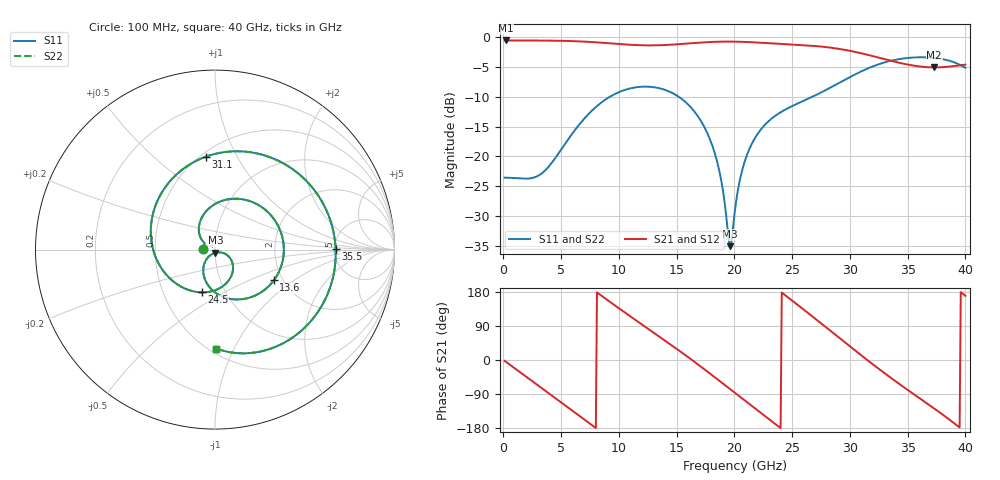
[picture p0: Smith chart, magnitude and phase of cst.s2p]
! C_s8_ap600: L1→L8, antipad Ø0.6 on every plane
! stackup: 8-layer 1.6 mm FR-4 (generic)
! ports: 1, 2
! CST Studio Suite 2025.5 Release from 2025-05-30, time domain (FIT, hexahedral, PBA), 154800 mesh cells, 35 s
! mesh: {'lpw': 20, 'lpb': 20, 'minstep': 0.0, 'ratio': 20}; ports: port 1 (face); port 2 (face)
! interpolated from CST's 1001 samples to the case grid
# Hz S RI R 50
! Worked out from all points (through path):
!   400 points, 100 MHz to 40 GHz, reference 50 ohm
!   highest |S21| = -0.60 dB at 200 MHz (marker M1); lowest = -5.1 dB at 37.3 GHz (marker M2)
!   group delay of S21, straight-line fit = 63.6 ps
!   lowest |S11| = -35.0 dB at 19.6 GHz (marker M3), VSWR 1.04, Z = 50.2 - j1.77 ohm
!   |S11| at or under -10 dB: start of sweep to 9.235 GHz; 15.16 GHz to 26.76 GHz (11.6 GHz wide, 55.3 % of centre)
!   |S22| runs from -35.0 to -3.4 dB; largest |S21 - S12| = 5e-07
!   S11 on the Smith chart (normalised r, x): 100 MHz: 0.88, +0.00; 13.6 GHz: 1.79, -0.71; 24.5 GHz: 0.78, -0.39; 31.1 GHz: 0.53, +0.76; 35.5 GHz: 5.10, +0.06; 40 GHz: 0.54, -0.85
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1e8  -0.0664 0.0018  0.9324 -0.0364  0.9324 -0.0364  -0.0664 0.0018
2e8  -0.0664 0.00359  0.9303 -0.0727  0.9303 -0.0727  -0.0664 0.00359
3.6e9  -0.0638 0.0417  0.1532 -0.9182  0.1532 -0.9182  -0.0638 0.0417
5.1e9  -0.086 0.0808  -0.3809 -0.8445  -0.3809 -0.8445  -0.086 0.0808
6.8e9  -0.0707 0.1837  -0.812 -0.4208  -0.812 -0.4208  -0.0707 0.1837
8.5e9  0.0587 0.2773  -0.8783 0.1653  -0.8783 0.1653  0.0587 0.2773
1.05e10  0.2879 0.2153  -0.5032 0.7032  -0.5032 0.7032  0.2879 0.2153
1.34e10  0.3429 -0.1485  0.3737 0.7641  0.3737 0.7641  0.3429 -0.1485
1.36e10  0.3277 -0.1713  0.4299 0.7352  0.4299 0.7352  0.3277 -0.1713
1.67e10  -0.0147 -0.2258  0.8812 -0.1316  0.8812 -0.1316  -0.0147 -0.2258
1.85e10  -0.0566 -0.0708  0.5825 -0.6994  0.5825 -0.6994  -0.0566 -0.0708
1.96e10  0.00189 -0.0177  0.2185 -0.8865  0.2185 -0.8865  0.00188 -0.0177
2.01e10  0.0354 -0.0162  0.032 -0.9112  0.032 -0.9112  0.0354 -0.0162
2.25e10  0.0867 -0.1552  -0.726 -0.5162  -0.726 -0.5162  0.0867 -0.1552
2.45e10  -0.0731 -0.2383  -0.8508 0.1727  -0.8508 0.1727  -0.0731 -0.2383
2.67e10  -0.2942 -0.1104  -0.3721 0.7559  -0.3721 0.7559  -0.2942 -0.1103
2.86e10  -0.3525 0.1661  0.2749 0.7575  0.2749 0.7575  -0.3525 0.1661
3.11e10  -0.05 0.518  0.7146 0.1195  0.7146 0.1195  -0.0499 0.518
3.34e10  0.4509 0.4344  0.4594 -0.4406  0.4594 -0.4406  0.451 0.4343
3.55e10  0.672 0.00327  0.00339 -0.5749  0.00339 -0.5749  0.672 0.00317
3.73e10  0.5435 -0.3872  -0.342 -0.4377  -0.342 -0.4377  0.5435 -0.3873
4e10  0.00683 -0.551  -0.5758 0.1093  -0.5758 0.1093  0.00673 -0.551
